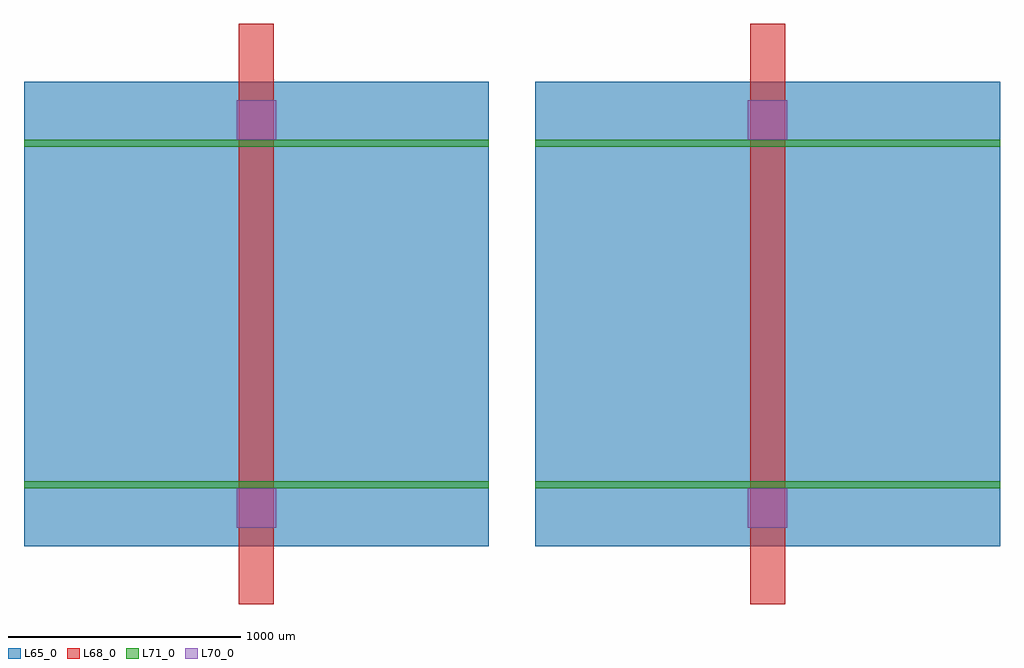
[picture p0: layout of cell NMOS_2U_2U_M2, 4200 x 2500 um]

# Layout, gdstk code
import gdstk
lib = gdstk.Library(unit=1e-6, precision=1e-09)
def R(c, l, rs):  # rectangles x0, y0, x1, y1
    for r in rs: c.add(gdstk.rectangle(r[:2], r[2:], *l))
L65_0 = (65, 0)
L68_0 = (68, 0)
L70_0 = (70, 0)
L71_0 = (71, 0)

nmos_2u_2u_m2 = lib.new_cell('NMOS_2U_2U_M2')
R(nmos_2u_2u_m2, L65_0, [(0,-1000,2000,1000), (2200,-1000,4200,1000)])
R(nmos_2u_2u_m2, L68_0, [(925,-1250,1075,1250), (3125,-1250,3275,1250)])
R(nmos_2u_2u_m2, L70_0, [(915,-920,1085,-750), (3115,-920,3285,-750), (915,750,1085,920), (3115,750,3285,920)])
R(nmos_2u_2u_m2, L71_0, [(0,-750,2000,-720), (2200,-750,4200,-720), (0,720,2000,750), (2200,720,4200,750)])

lib.write_gds('NMOS_2U_2U_M2.gds')
